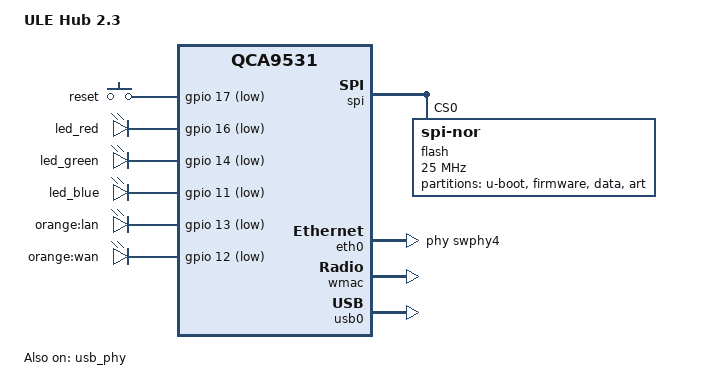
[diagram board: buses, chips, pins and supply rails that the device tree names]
// SPDX-License-Identifier: GPL-2.0-or-later OR MIT

#include "qca953x.dtsi"

#include <dt-bindings/gpio/gpio.h>
#include <dt-bindings/input/input.h>

/{
	model = "ULE Hub 2.3";
	compatible = "gainstrong,ule-hub", "gainstrong,oolite-v5-32m", "gainstrong,minibox-v3-32m", "qca,qca9531";

	aliases {
		label-mac-device = &eth0;
		led-boot = &led_system;
		led-failsafe = &led_system;
		led-running = &led_system;
		led-upgrade = &led_system;
	};

	keys: keys {
		compatible = "gpio-keys";

		reset {
			label = "reset";
			linux,code = <KEY_RESTART>;
			gpios = <&gpio 17 GPIO_ACTIVE_LOW>;
			debounce-interval = <60>;
		};
	};

	leds: leds {
		compatible = "gpio-leds";

		led_red {
			label = "led_red";
			gpios = <&gpio 16 GPIO_ACTIVE_LOW>;
			default-state = "on";
		};

		led_system: led_green {
			label = "led_green";
			gpios = <&gpio 14 GPIO_ACTIVE_LOW>;
			default-state = "on";
		};

		led_blue {
			label = "led_blue";
			gpios = <&gpio 11 GPIO_ACTIVE_LOW>;
			default-state = "on";
		};

		lan {
			label = "orange:lan";
			gpios = <&gpio 13 GPIO_ACTIVE_LOW>;
			default-state = "on";
		};

		wan {
			label = "orange:wan";
			gpios = <&gpio 12 GPIO_ACTIVE_LOW>;
			default-state = "on";
		};
	};
};

&spi {
	status = "okay";

	flash@0 {
		compatible = "jedec,spi-nor";
		reg = <0>;
		spi-max-frequency = <25000000>;

		partitions: partitions {
			compatible = "fixed-partitions";
			#address-cells = <1>;
			#size-cells = <1>;

			uboot: partition@0 {
				label = "u-boot";
				reg = <0x000000 0x020000>;
				read-only;
			};

			firmware: partition@20000 {
				compatible = "tplink,firmware";
				label = "firmware";
				reg = <0x020000 0x1f50000>;
			};

			data: partition@f70000 {
				label = "data";
				reg = <0x1f70000 0x080000>;
			};

			art: partition@ff0000 {
				label = "art";
				reg = <0x1ff0000 0x010000>;
				read-only;
			};
		};
	};
};

&eth0 {
	status = "okay";

	phy-handle = <&swphy4>;

	mtd-mac-address = <&art 0x1002>;
	mtd-mac-address-increment = <1>;
};

&eth1 {
	mtd-mac-address = <&art 0x1002>;
};

&wmac {
	status = "okay";

	mtd-cal-data = <&art 0x1000>;
};

&usb_phy {
	status = "okay";
};

&usb0 {
	status = "okay";
};
